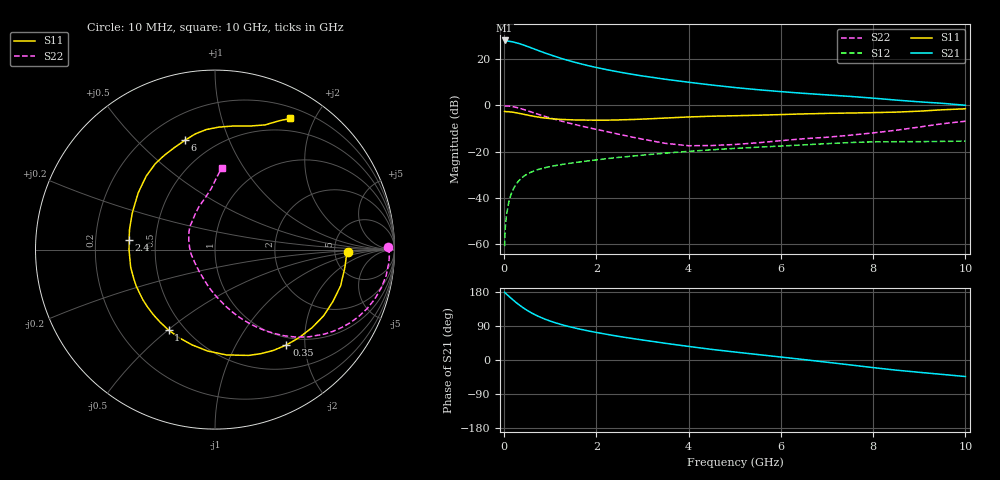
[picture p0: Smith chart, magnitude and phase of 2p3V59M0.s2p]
! (c) 2009  Infineon Technologies AG, Munich
! Infineon Technologies  Discrete & RF Semiconductors
! BFP420
! VCE =  3.5 V,  IC =  9.0 mA
! Common Emitter S-Parameters:  Nov 2009
# GHz  S  MA  R  50
!  f  S11  S21  S12  S22
! GHz  MAG  ANG  MAG  ANG  MAG  ANG  MAG  ANG
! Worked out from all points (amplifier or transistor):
!   46 points, 10 MHz to 10 GHz, reference 50 ohm
!   highest |S21| = 28.1 dB at 10 MHz (marker M1)
!   |S21| within 3 dB of that: start of sweep to 560.2 MHz
!   unconditionally stable (mu >= 1): 2.469 GHz to end of sweep
!   at 300 MHz: K = 0.20, MSG = 30.0 dB, |S12| = -33.0 dB
!   at 1.7 GHz: K = 0.78, MSG = 21.1 dB, |S12| = -24.3 dB
!   at 10 GHz: K = 1.09, MAG = 5.9 dB, |S12| = -15.5 dB
!   S11 on the Smith chart (normalised r, x): 10 MHz: 6.77, -0.47; 350 MHz: 0.87, -1.65; 1 GHz: 0.41, -0.50; 2.4 GHz: 0.35, +0.05; 6 GHz: 0.35, +0.70; 10 GHz: 0.33, +1.68
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0.01  0.7436 -1.2  25.35 178.7  0.0009 80.2  0.9649 0.7
0.02  0.7327 -3.2  24.66 177.4  0.002 68.2  0.9722 -1.5
0.1  0.7284 -16.1  24.4 168.5  0.008 78.1  0.9641 -8.8
0.2  0.7088 -31.4  23.43 157.8  0.0156 73.3  0.9312 -17.3
0.3  0.6785 -46.2  22.06 147.8  0.0223 67.6  0.8832 -25.0
0.35  0.6638 -53.2  21.3 143.3  0.0252 65.0  0.8557 -28.5
0.4  0.6494 -59.8  20.5 138.9  0.028 62.5  0.8268 -31.8
0.5  0.6185 -72.4  18.89 130.9  0.0327 58.3  0.7687 -37.8
0.6  0.5903 -83.8  17.35 123.8  0.0366 54.6  0.7128 -43.0
0.7  0.5665 -94.2  15.9 117.6  0.0399 51.7  0.6606 -47.5
0.8  0.5462 -103.5  14.58 112.1  0.0427 49.3  0.6137 -51.4
1  0.5177 -119.9  12.4 102.7  0.0475 46.0  0.533 -58.1
1.3  0.4935 -139.6  9.938 91.5  0.0536 42.9  0.4408 -66.2
1.7  0.481 -159.9  7.746 80.0  0.0608 40.3  0.3524 -75.4
2.4  0.4814 173.5  5.474 64.1  0.0734 36.7  0.2479 -90.9
3.5  0.5319 143.6  3.664 44.0  0.0926 30.5  0.1505 -125.7
4.5  0.5829 124.8  2.755 28.0  0.1094 23.6  0.1352 -168.7
5.5  0.6118 111.7  2.18 14.4  0.1244 16.7  0.1552 160.4
6  0.632 105.3  1.983 7.8  0.1319 13.3  0.1722 147.9
7  0.6708 94.1  1.683 -5.9  0.1486 5.3  0.2045 127.9
8.5  0.7146 74.4  1.3 -26.8  0.1637 -10.2  0.2896 101.5
10  0.8432 60.1  1.005 -43.6  0.1685 -20.5  0.4541 85.4
